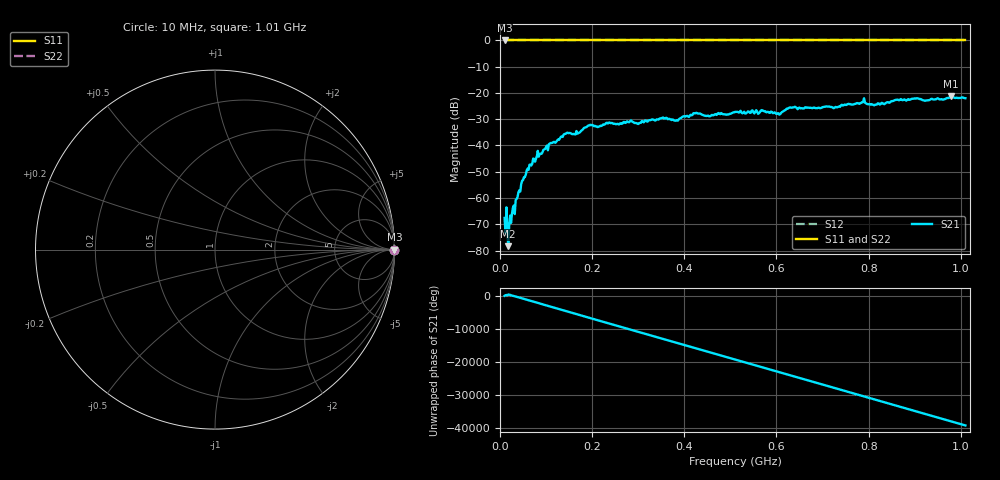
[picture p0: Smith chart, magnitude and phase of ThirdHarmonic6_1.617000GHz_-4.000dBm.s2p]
! 8/16/2025 7:18:08 PM
! C:\ANRITSUVNA\TEMP\TEMP.S2P
! CHANNEL.1
! TR.MEASUREMENT
! RAW.DATA
! RF.CORRECTION.OFF
! AVERAGING.OFF
! IF.BANDWIDTH: 5KHZ
! SWEEPTYPE:  FREQ.SWEEP(Linear)
! Reference Plane Port Info
! PORT:  PORT1  PORT2
! DISTANCE:  0  m  0  m
! TIME:  0  s  0  s
! PHASE.OFFSET:  0  deg.  0  deg.
! LOSS:  0  dB  0  dB
! REF.LOSS:  0  dB  0  dB
! REF.FREQ:  0  Hz  0  Hz
! Power Info
! POWER:  -20  dBm  -20  dBm
! EFF.POWER:  -20  dBm  -20  dBm
! SOURCE.ATTEN:  0  dB  0  dB
! TEST.ATTEN:  0  dB  0  dB
# GHZ S RI R 50.0
! FREQ.GHZ  S11RE  S11IM  S21RE  S21IM  S12RE  S12IM  S22RE  S22IM
!; PortSelection: Port_12
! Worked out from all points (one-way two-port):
!   501 points, 10 MHz to 1.01 GHz, reference 50 ohm
!   highest |S21| = -21.28 dB at 978 MHz (marker M1); lowest = -78.4 dB at 18 MHz (marker M2)
!   lowest |S11| = 0.0 dB at 10 MHz (marker M3)
!   |S11| at or under -10 dB: nowhere
!   |S22| runs from 0.0 to 0.0 dB; largest |S21 - S12| = 1.1
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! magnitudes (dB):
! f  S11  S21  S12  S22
! 10 MHz  0.0  -67.6  0.0  0.0
! 14 MHz  0.0  -63.6  0.0  0.0
! 18 MHz  0.0  -78.4  0.0  0.0
! 20 MHz  0.0  -70.2  0.0  0.0
! 26 MHz  0.0  -66.0  0.0  0.0
! 50 MHz  0.0  -53.2  0.0  0.0
! 62 MHz  0.0  -49.3  0.0  0.0
! 78 MHz  0.0  -45.1  0.0  0.0
! 142 MHz  0.0  -35.6  0.0  0.0
! 178 MHz  0.0  -34.1  0.0  0.0
! 196 MHz  0.0  -32.1  0.0  0.0
! 344 MHz  0.0  -30.1  0.0  0.0
! 382 MHz  0.0  -30.5  0.0  0.0
! 424 MHz  0.0  -27.8  0.0  0.0
! 452 MHz  0.0  -28.7  0.0  0.0
! 510 MHz  0.0  -27.2  0.0  0.0
! 604 MHz  0.0  -27.7  0.0  0.0
! 630 MHz  0.0  -25.5  0.0  0.0
! 678 MHz  0.0  -25.8  0.0  0.0
! 844 MHz  0.0  -23.7  0.0  0.0
! 978 MHz  0.0  -21.3  0.0  0.0
! 1.01 GHz  0.0  -22.0  0.0  0.0
